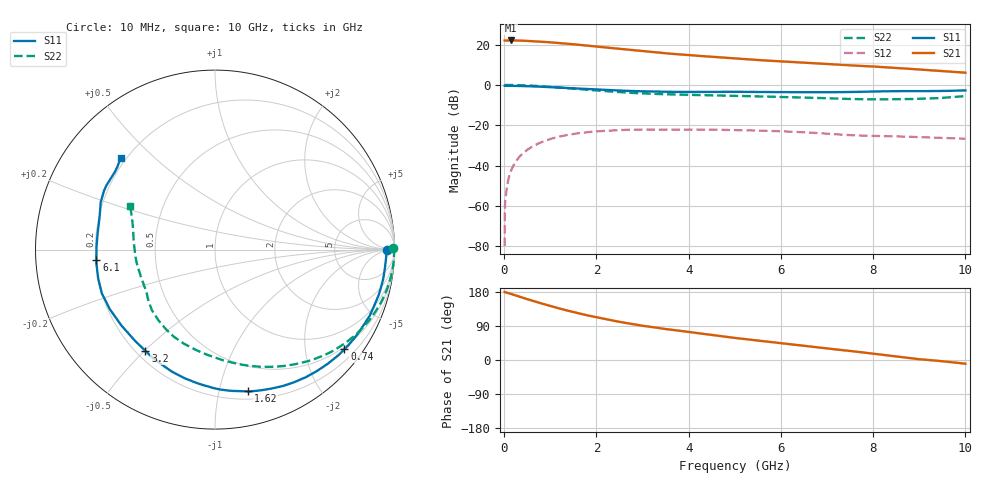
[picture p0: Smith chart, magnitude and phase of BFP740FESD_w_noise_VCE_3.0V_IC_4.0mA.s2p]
! Infineon Technologies  Discrete & RF Semiconductors
! BFP740FESD
! VCE =  3.0 V,  IC =  4.0 mA
! Common Emitter S-Parameters:  Jan 2016
# GHz  S  MA  R  50
!  f  S11  S21  S12  S22
! GHz  MAG  ANG  MAG  ANG  MAG  ANG  MAG  ANG
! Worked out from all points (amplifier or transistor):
!   233 points, 10 MHz to 10 GHz, reference 50 ohm
!   highest |S21| = 22.1 dB at 150 MHz (marker M1)
!   |S21| within 3 dB of that: start of sweep to 1.992 GHz
!   unconditionally stable (mu >= 1): start of sweep to 10.01021 MHz; 7.317 GHz to end of sweep
!   at 200 MHz: K = 0.02, MSG = 31.1 dB, |S12| = -40.1 dB
!   at 1.74 GHz: K = 0.17, MSG = 21.6 dB, |S12| = -23.6 dB
!   at 10 GHz: K = 1.57, MAG = 11.9 dB, |S12| = -26.7 dB
!   lowest NFmin = 0.46 dB at 450 MHz
!   S11 on the Smith chart (normalised r, x): 10 MHz: 44, -2; 740 MHz: 0.45, -2.88; 1.62 GHz: 0.27, -1.23; 3.2 GHz: 0.24, -0.50; 6.1 GHz: 0.20, -0.04; 10 GHz: 0.18, +0.39
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0.01  0.9557 -0.1  12.66 179.5  0.0001 -54.0  0.9932 0.4
0.015  0.9558 -0.6  12.64 179.4  0.0006 93.8  0.9956 -0.2
0.02  0.956 -1.1  12.62 179.2  0.0012 96.3  0.998 -0.7
0.07  0.9536 -3.7  12.64 177.2  0.0034 88.5  0.9979 -2.5
0.15  0.9517 -7.9  12.7 174.2  0.0075 84.5  0.9964 -5.4
0.38  0.9403 -19.6  12.54 165.3  0.0188 77.3  0.9815 -13.7
0.74  0.91 -37.6  11.97 151.8  0.0352 65.9  0.9386 -26.1
0.92  0.8916 -46.1  11.59 145.4  0.0425 60.4  0.9113 -32.1
1.2  0.8604 -59.2  10.98 135.9  0.0525 52.2  0.8633 -41.2
1.62  0.8114 -76.8  9.934 122.9  0.0636 41.0  0.7875 -53.6
1.68  0.8038 -79.1  9.777 121.2  0.0649 39.6  0.7776 -55.3
2.04  0.7676 -91.7  8.876 111.7  0.0709 31.8  0.7228 -64.6
2.44  0.7324 -104.6  7.992 102.1  0.0755 24.1  0.6707 -74.4
2.82  0.7043 -115.5  7.216 93.9  0.0777 17.7  0.6307 -82.8
3.2  0.6846 -124.5  6.555 87.2  0.0783 12.5  0.6035 -89.4
3.4  0.6778 -128.9  6.242 83.6  0.0785 10.0  0.5924 -92.6
4.4  0.6716 -148.5  5.094 67.6  0.0781 -0.0  0.5547 -106.7
5.1  0.6742 -160.2  4.452 56.9  0.0756 -6.4  0.5334 -116.4
6.1  0.6633 -175.0  3.793 43.0  0.0702 -13.9  0.5008 -129.9
6.8  0.6593 174.2  3.406 33.1  0.064 -18.0  0.4759 -139.6
8.4  0.6997 152.1  2.692 10.8  0.0534 -16.3  0.442 -169.2
10  0.7324 135.8  2.015 -9.8  0.0464 -12.8  0.5297 152.9
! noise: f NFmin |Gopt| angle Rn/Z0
0.45  0.46  0.63  6  0.14
2.4  0.64  0.36  45  0.14
5.5  0.85  0.44  128  0.09
10  1.65  0.47  -141  0.15
